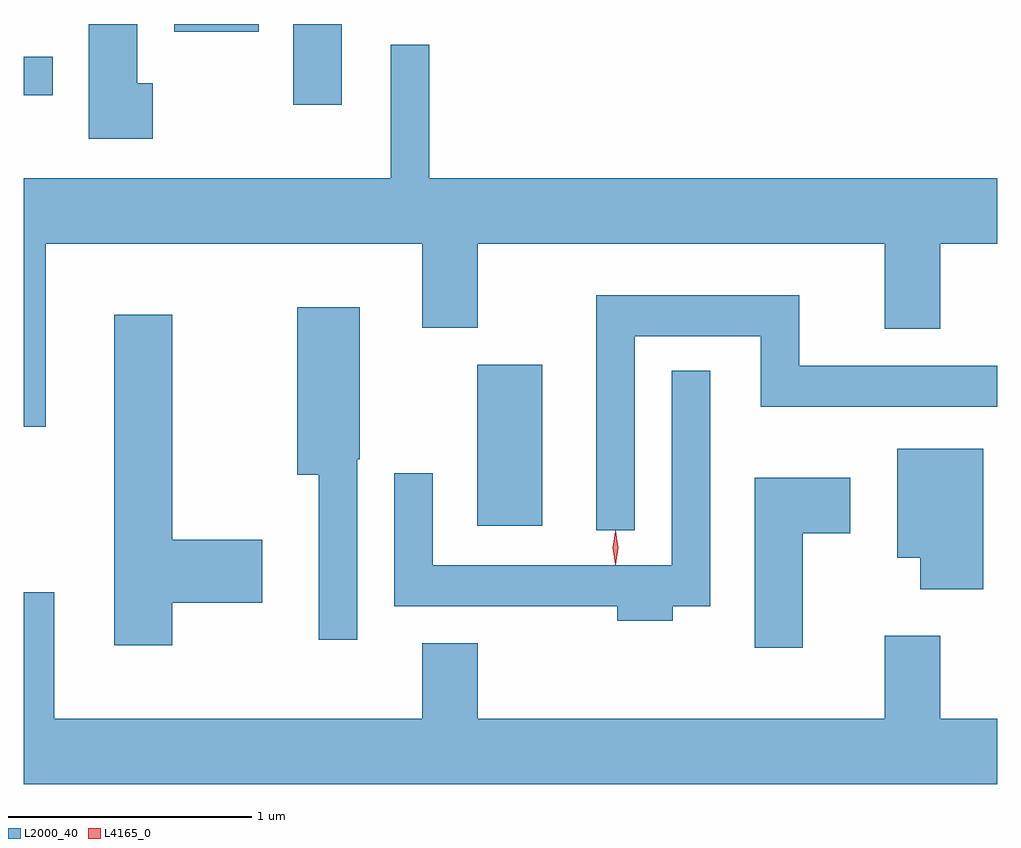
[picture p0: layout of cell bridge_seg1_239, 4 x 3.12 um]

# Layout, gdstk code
import gdstk
lib = gdstk.Library(unit=1e-6, precision=1e-09)
def R(c, l, rs):  # rectangles x0, y0, x1, y1
    for r in rs: c.add(gdstk.rectangle(r[:2], r[2:], *l))
def P(c, l, *ps):  # polygons
    for p in ps: c.add(gdstk.Polygon(p, *l))
L2000_40 = (2000, 40)
L4165_0 = (4165, 0)

bridge_seg1_239 = lib.new_cell('bridge_seg1_239')
R(bridge_seg1_239, L2000_40, [(830.206,873.996,830.474,874.659), (829.451,875.726,829.649,876.058), (828.343,875.766,828.463,875.924), (828.961,876.026,829.308,876.058)])
P(bridge_seg1_239, L2000_40, [(828.874,875.814),(828.809,875.814),(828.809,876.058),(828.611,876.058),(828.611,875.586),(828.874,875.586)],
  [(828.434,875.156),(829.981,875.156),(829.981,874.811),(830.209,874.811),(830.209,875.156),(831.881,875.156),(831.881,874.806),(832.109,874.806),(832.109,875.156),(832.343,875.156),(832.343,875.424),(830.009,875.424),(830.009,875.973),(829.851,875.973),(829.851,875.424),(828.343,875.424),(828.343,874.403),(828.434,874.403)],
  [(830.854,874.776),(831.371,874.776),(831.371,874.486),(832.343,874.486),(832.343,874.654),(831.529,874.654),(831.529,874.944),(830.696,874.944),(830.696,873.978),(830.854,873.978)],
  [(829.714,874.27),(829.724,874.27),(829.724,874.894),(829.466,874.894),(829.466,874.206),(829.556,874.206),(829.556,873.528),(829.714,873.528)],
  [(828.954,873.681),(829.324,873.681),(829.324,873.939),(828.954,873.939),(828.954,874.864),(828.716,874.864),(828.716,873.506),(828.954,873.506)],
  [(831.009,873.666),(831.164,873.666),(831.164,874.633),(831.006,874.633),(831.006,873.834),(830.024,873.834),(830.024,874.213),(829.866,874.213),(829.866,873.666),(830.781,873.666),(830.781,873.606),(831.009,873.606)],
  [(832.284,874.314),(831.931,874.314),(831.931,873.866),(832.026,873.866),(832.026,873.736),(832.284,873.736)],
  [(831.544,873.966),(831.739,873.966),(831.739,874.194),(831.346,874.194),(831.346,873.496),(831.544,873.496)],
  [(832.343,873.204),(832.109,873.204),(832.109,873.544),(831.881,873.544),(831.881,873.204),(830.209,873.204),(830.209,873.514),(829.981,873.514),(829.981,873.204),(828.469,873.204),(828.469,873.724),(828.343,873.724),(828.343,872.936),(832.343,872.936)])
P(bridge_seg1_239, L4165_0, [(830.774,873.837),(830.765,873.906),(830.774,873.976),(830.775,873.976),(830.775,873.976),(830.785,873.906),(830.775,873.837),(830.775,873.837)],
  [(830.774,873.839),(830.774,873.84),(830.764,873.906),(830.774,873.972),(830.774,873.973),(830.775,873.972),(830.784,873.906),(830.775,873.84)])

lib.write_gds('bridge_seg1_239.gds')
